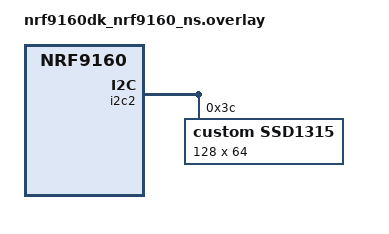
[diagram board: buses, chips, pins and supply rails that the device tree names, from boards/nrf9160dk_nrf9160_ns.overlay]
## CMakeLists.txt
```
cmake_minimum_required(VERSION 3.20.0)
find_package(Zephyr REQUIRED HINTS $ENV{ZEPHYR_BASE})
project(ssd1315_display)

target_sources(app PRIVATE
    src/main.c
    src/i2c_scanner.c
    drivers/ssd1315/ssd1315.c
    drivers/ssd1315/ssd1315_reg.c
)

# Füge den neuen include-Pfad hinzu
target_include_directories(app PRIVATE
    ${CMAKE_CURRENT_SOURCE_DIR}/include
    ${CMAKE_CURRENT_SOURCE_DIR}/include/ssd1315
)
```

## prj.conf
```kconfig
# Aktivieren des I2C-Treibers
CONFIG_I2C=y

# Aktivieren des Display-Subsystems
CONFIG_DISPLAY=y

# Log-Ausgabe aktivieren (optional, für Debugging)
CONFIG_LOG=y
CONFIG_LOG_DEFAULT_LEVEL=3

CONFIG_MAIN_STACK_SIZE=4096
CONFIG_HEAP_MEM_POOL_SIZE=4096
CONFIG_SYSTEM_WORKQUEUE_STACK_SIZE=2048
```

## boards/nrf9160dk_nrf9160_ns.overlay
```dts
&i2c2 {
    ssd1315: ssd1315@3c {
        status = "okay";
        compatible = "custom,ssd1315";  // Treiberkompatibilität
        reg = <0x3C>;                   // I2C-Adresse des Displays

        height = <64>;
        width = <128>;
        segment-offset = <0x00>;       // Spalten-Offset
        page-offset = <0x00>;          // Seiten-Offset
        display-offset = <0x00>;       // Anzeige-Offset
        multiplex-ratio = <0x3F>;      // Multiplex-Ratio (64 Zeilen)
        prechargep = <2>;              // Dauer der Pre-Charge-Periode
        ready-time-ms = <10>;          // Zeit bis das Display bereit ist
    };
};
```

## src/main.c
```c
#include <zephyr/kernel.h>
#include <zephyr/device.h>
#include <zephyr/logging/log.h>
#include <zephyr/drivers/i2c.h>
#include <string.h>
#include "i2c_scanner.h"
#include "ssd1315.h"
#include "hbrslogo.h"

LOG_MODULE_REGISTER(ssd1315_display, LOG_LEVEL_INF);

const struct device *i2c_dev = DEVICE_DT_GET(DT_NODELABEL(i2c2));

int32_t I2C_Init(void) {
    if (!device_is_ready(i2c_dev)) {
        LOG_ERR("I2C device not ready");
        return -1; // Fehler, wenn das Gerät nicht bereit ist
    }
    return 0; // Erfolg
}

int32_t I2C_DeInit(void) {
    // Zephyr benötigt normalerweise keine De-Initialisierung
    return 0;
}

int32_t I2C_WriteReg(uint16_t reg, uint8_t *data, uint16_t length) {
    LOG_INF("Writing I2C reg: 0x%02X, length: %d", reg, length);

    uint8_t buffer[length + 1];
    buffer[0] = (uint8_t)reg;
    memcpy(&buffer[1], data, length);

    int ret = i2c_write(i2c_dev, buffer, length + 1, 0x3C);
    if (ret != 0) {
        LOG_ERR("I2C write failed: %d", ret);
        return -1;
    }
    LOG_INF("I2C write successful");
    return 0;
}


int32_t I2C_ReadReg(uint16_t reg, uint8_t *data, uint16_t length) {
    // Schreibe die Registeradresse, von der gelesen werden soll
    if (i2c_write(i2c_dev, (uint8_t *)&reg, 1, 0x3C) != 0) { // 0x3C ist die I2C-Adresse
        return -1; // Fehler
    }

    // Lese die Daten vom Register
    if (i2c_read(i2c_dev, data, length, 0x3C) != 0) {
        return -1; // Fehler
    }

    return 0; // Erfolg
}

// SSD1315-Objekt und IO-Struktur
SSD1315_Object_t ssd1315_obj;
SSD1315_IO_t ssd1315_io = {
    .Init = I2C_Init,
    .DeInit = I2C_DeInit,
    .WriteReg = I2C_WriteReg,
    .ReadReg = I2C_ReadReg,
    .GetTick = (int32_t (*)(void))k_uptime_get_32 // Zephyr-Zeitfunktion
};

void SSD1315_ClearScreen(SSD1315_Object_t *pObj, uint8_t color) {
    SSD1315_FillRect(pObj, 0, 0, SSD1315_LCD_PIXEL_WIDTH, SSD1315_LCD_PIXEL_HEIGHT, color);
    SSD1315_Refresh(pObj);
}


int main(void) {
    LOG_INF("Starting SSD1315 application");

    // Registriere das I/O-Interface
    if (SSD1315_RegisterBusIO(&ssd1315_obj, &ssd1315_io) != SSD1315_OK) {
        LOG_ERR("Failed to register SSD1315 IO");
        return -1;
    }

    // Initialisiere das Display
    if (SSD1315_Init(&ssd1315_obj, SSD1315_FORMAT_DEFAULT, SSD1315_ORIENTATION_LANDSCAPE) != SSD1315_OK) {
        LOG_ERR("Failed to initialize SSD1315");
        return -1;
    }

    LOG_INF("SSD1315 initialized successfully");
    SSD1315_DisplayOff(&ssd1315_obj);
    SSD1315_DisplayOn(&ssd1315_obj);

    SSD1315_DrawBitmap2(&ssd1315_obj, 0, 0, hbrslogo_bits); 

    SSD1315_Refresh(&ssd1315_obj);

    while (1)
    {
        k_sleep(K_SECONDS(5)); // 5 Sekunden warten
    }

    return 0;
}
```
